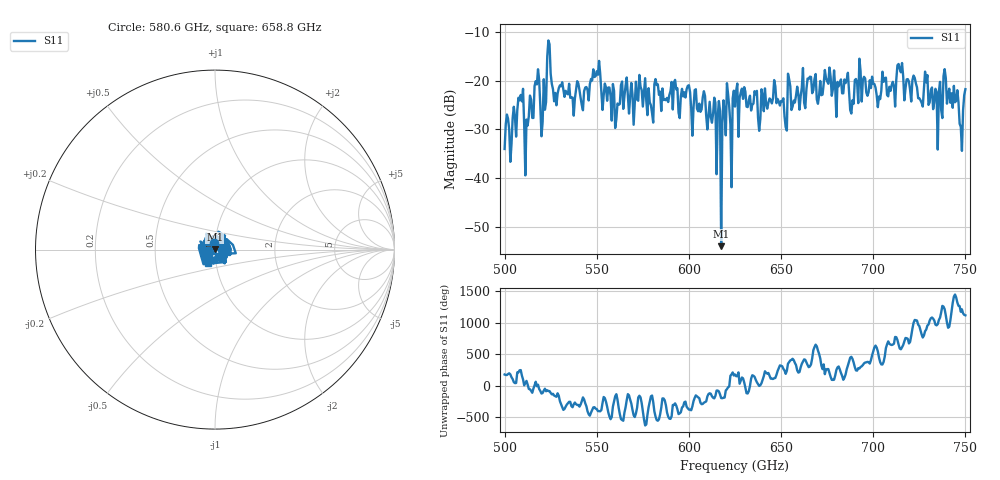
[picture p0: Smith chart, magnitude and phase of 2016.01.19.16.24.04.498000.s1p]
!Created with skrf (http://scikit-rf.org).
# GHz S RI R 50.0
!freq ReS11 ImS11
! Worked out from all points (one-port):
!   401 points, 500 GHz to 750 GHz, reference 50 ohm
!   lowest |S11| = -53.9 dB at 617.5 GHz (marker M1), VSWR 1.00, Z = 49.8 + j0.0576 ohm
!   |S11| at or under -10 dB: start of sweep to end of sweep
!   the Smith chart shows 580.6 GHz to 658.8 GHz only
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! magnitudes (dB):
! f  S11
! 500 GHz  -34.0
! 508.8 GHz  -23.0
! 511.9 GHz  -28.0
! 517.5 GHz  -20.8
! 521.2 GHz  -19.7
! 524.4 GHz  -12.6
! 526.9 GHz  -24.3
! 531.2 GHz  -20.4
! 542.5 GHz  -26.1
! 550.6 GHz  -18.8
! 559.4 GHz  -22.1
! 562.5 GHz  -24.8
! 593.8 GHz  -21.6
! 608.1 GHz  -22.2
! 617.5 GHz  -53.9
! 618.8 GHz  -24.1
! 620 GHz  -31.2
! 623.8 GHz  -23.6
! 625 GHz  -25.3
! 656.2 GHz  -25.3
! 675 GHz  -20.2
! 687.5 GHz  -26.0
! 714.4 GHz  -17.6
! 718.8 GHz  -19.7
! 736.2 GHz  -20.3
! 739.4 GHz  -19.5
! 747.5 GHz  -29.5
! 750 GHz  -21.8
